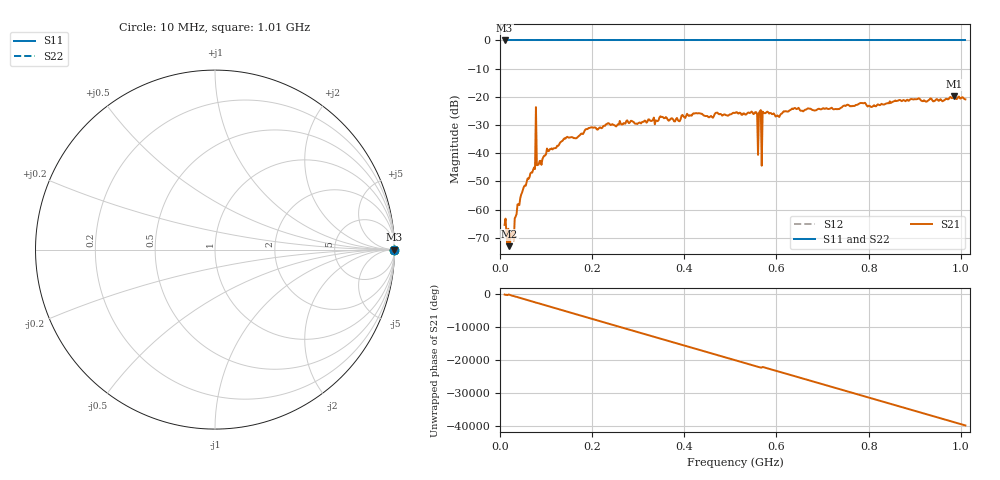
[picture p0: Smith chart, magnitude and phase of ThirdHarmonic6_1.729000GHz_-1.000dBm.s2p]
! 8/16/2025 8:49:42 PM
! C:\ANRITSUVNA\TEMP\TEMP.S2P
! CHANNEL.1
! TR.MEASUREMENT
! RAW.DATA
! RF.CORRECTION.OFF
! AVERAGING.OFF
! IF.BANDWIDTH: 5KHZ
! SWEEPTYPE:  FREQ.SWEEP(Linear)
! Reference Plane Port Info
! PORT:  PORT1  PORT2
! DISTANCE:  0  m  0  m
! TIME:  0  s  0  s
! PHASE.OFFSET:  0  deg.  0  deg.
! LOSS:  0  dB  0  dB
! REF.LOSS:  0  dB  0  dB
! REF.FREQ:  0  Hz  0  Hz
! Power Info
! POWER:  -20  dBm  -20  dBm
! EFF.POWER:  -20  dBm  -20  dBm
! SOURCE.ATTEN:  0  dB  0  dB
! TEST.ATTEN:  0  dB  0  dB
# GHZ S RI R 50.0
! FREQ.GHZ  S11RE  S11IM  S21RE  S21IM  S12RE  S12IM  S22RE  S22IM
!; PortSelection: Port_12
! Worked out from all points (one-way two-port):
!   501 points, 10 MHz to 1.01 GHz, reference 50 ohm
!   highest |S21| = -19.84 dB at 986 MHz (marker M1); lowest = -73.0 dB at 20 MHz (marker M2)
!   lowest |S11| = 0.0 dB at 10 MHz (marker M3)
!   |S11| at or under -10 dB: nowhere
!   |S22| runs from 0.0 to 0.0 dB; largest |S21 - S12| = 1.1
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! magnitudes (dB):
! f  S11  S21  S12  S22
! 10 MHz  0.0  -65.4  0.0  0.0
! 20 MHz  0.0  -73.0  0.0  0.0
! 26 MHz  0.0  -69.1  0.0  0.0
! 48 MHz  0.0  -53.9  0.0  0.0
! 72 MHz  0.0  -45.8  0.0  0.0
! 76 MHz  0.0  -45.6  0.0  0.0
! 82 MHz  0.0  -44.2  0.0  0.0
! 86 MHz  0.0  -42.7  0.0  0.0
! 142 MHz  0.0  -34.8  0.0  0.0
! 178 MHz  0.0  -33.0  0.0  0.0
! 344 MHz  0.0  -28.3  0.0  0.0
! 510 MHz  0.0  -25.7  0.0  0.0
! 554 MHz  0.0  -25.4  0.0  0.0
! 562 MHz  0.0  -25.7  0.0  0.0
! 564 MHz  0.0  -25.1  0.0  0.0
! 566 MHz  0.0  -24.7  0.0  0.0
! 572 MHz  0.0  -25.7  0.0  0.0
! 574 MHz  0.0  -25.8  0.0  0.0
! 678 MHz  0.0  -24.7  0.0  0.0
! 844 MHz  0.0  -22.3  0.0  0.0
! 986 MHz  0.0  -19.8  0.0  0.0
! 1.01 GHz  0.0  -20.9  0.0  0.0
